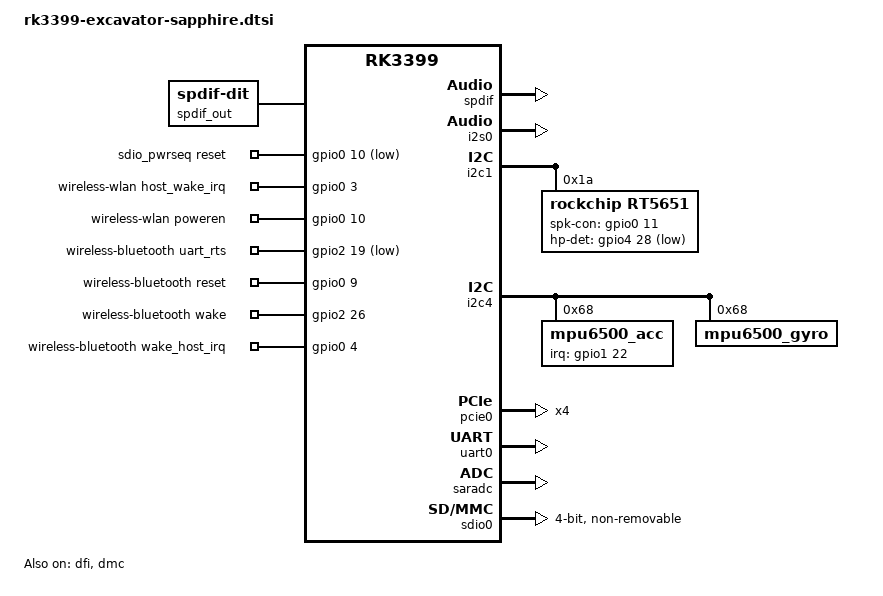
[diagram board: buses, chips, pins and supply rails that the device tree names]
// SPDX-License-Identifier: (GPL-2.0+ OR MIT)
/*
 * Copyright (c) 2022 Rockchip Electronics Co., Ltd.
 *
 */

#include "rk3399-sapphire.dtsi"
#include <dt-bindings/sensor-dev.h>
/ {
	compatible = "rockchip,rk3399-sapphire-excavator", "rockchip,rk3399";

	rt5651_sound: rt5651-sound {
		compatible = "simple-audio-card";
		simple-audio-card,format = "i2s";
		simple-audio-card,name = "realtek,rt5651-codec";
		simple-audio-card,mclk-fs = <256>;
		simple-audio-card,widgets =
			"Microphone", "Mic Jack",
			"Headphone", "Headphone Jack";
		simple-audio-card,routing =
			"Mic Jack", "MICBIAS1",
			"IN1P", "Mic Jack",
			"Headphone Jack", "HPOL",
			"Headphone Jack", "HPOR";
		simple-audio-card,cpu {
			sound-dai = <&i2s0>;
		};
		simple-audio-card,codec {
			sound-dai = <&rt5651>;
		};
	};

	spdif-sound {
		status = "okay";
		compatible = "simple-audio-card";
		simple-audio-card,name = "ROCKCHIP,SPDIF";
		simple-audio-card,cpu {
			sound-dai = <&spdif>;
		};
		simple-audio-card,codec {
			sound-dai = <&spdif_out>;
		};
	};

	spdif_out: spdif-out {
		status = "okay";
		compatible = "linux,spdif-dit";
		#sound-dai-cells = <0>;
	};

	sdio_pwrseq: sdio-pwrseq {
		compatible = "mmc-pwrseq-simple";
		clocks = <&rk808 1>;
		clock-names = "ext_clock";
		pinctrl-names = "default";
		pinctrl-0 = <&wifi_enable_h>;

		/*
		 * On the module itself this is one of these (depending
		 * on the actual card populated):
		 * - SDIO_RESET_L_WL_REG_ON
		 * - PDN (power down when low)
		 */
		reset-gpios = <&gpio0 10 GPIO_ACTIVE_LOW>; /* GPIO0_B2 */
	};

	wireless-wlan {
		compatible = "wlan-platdata";
		rockchip,grf = <&grf>;
		wifi_chip_type = "ap6354";
		sdio_vref = <1800>;
		WIFI,host_wake_irq = <&gpio0 3 GPIO_ACTIVE_HIGH>; /* GPIO0_a3 */
		WIFI,poweren_gpio = <&gpio0 10 GPIO_ACTIVE_HIGH>;
		status = "okay";
	};

	wireless-bluetooth {
		compatible = "bluetooth-platdata";
		clocks = <&rk808 1>;
		clock-names = "ext_clock";
		//wifi-bt-power-toggle;
		uart_rts_gpios = <&gpio2 19 GPIO_ACTIVE_LOW>; /* GPIO2_C3 */
		pinctrl-names = "default", "rts_gpio";
		pinctrl-0 = <&uart0_rts>, <&bt_reset_gpio>, <&bt_wake_gpio>, <&bt_irq_gpio>;
		pinctrl-1 = <&uart0_gpios>;
		//BT,power_gpio  = <&gpio3 19 GPIO_ACTIVE_HIGH>; /* GPIOx_xx */
		BT,reset_gpio    = <&gpio0 9 GPIO_ACTIVE_HIGH>; /* GPIO0_B1 */
		BT,wake_gpio     = <&gpio2 26 GPIO_ACTIVE_HIGH>; /* GPIO2_D2 */
		BT,wake_host_irq = <&gpio0 4 GPIO_ACTIVE_HIGH>; /* GPIO0_A4 */
		status = "okay";
	};
};

&dfi {
	status = "okay";
};

&dmc {
	status = "okay";
	center-supply = <&vdd_center>;
	upthreshold = <40>;
	downdifferential = <20>;
	system-status-freq = <
		/*system status         freq(KHz)*/
		SYS_STATUS_NORMAL       800000
		SYS_STATUS_REBOOT       528000
		SYS_STATUS_SUSPEND      200000
		SYS_STATUS_VIDEO_1080P  200000
		SYS_STATUS_VIDEO_4K     600000
		SYS_STATUS_VIDEO_4K_10B 800000
		SYS_STATUS_PERFORMANCE  800000
		SYS_STATUS_BOOST        600000
		SYS_STATUS_DUALVIEW     600000
		SYS_STATUS_ISP          600000
	>;
	vop-bw-dmc-freq = <
	/* min_bw(MB/s) max_bw(MB/s) freq(KHz) */
		0       762      200000
		763     1893     400000
		1894    3012     528000
		3013    99999    800000
	>;
	auto-freq-en = <1>;
	auto-min-freq = <200000>;
};

&spdif {
	status = "okay";
	pinctrl-0 = <&spdif_bus>;
	i2c-scl-rising-time-ns = <450>;
	i2c-scl-falling-time-ns = <15>;
	#sound-dai-cells = <0>;
};

&i2s0 {
	status = "okay";
	rockchip,playback-channels = <8>;
	rockchip,capture-channels = <8>;
	#sound-dai-cells = <0>;
};

&i2c1 {
	status = "okay";
	i2c-scl-rising-time-ns = <300>;
	i2c-scl-falling-time-ns = <15>;

	rt5651: rt5651@1a {
		#sound-dai-cells = <0>;
		compatible = "rockchip,rt5651";
		reg = <0x1a>;
		clocks = <&cru SCLK_I2S_8CH_OUT>;
		clock-names = "mclk";
		pinctrl-names = "default";
		pinctrl-0 = <&i2s_8ch_mclk>;
		spk-con-gpio = <&gpio0 11 GPIO_ACTIVE_HIGH>;
		hp-det-gpio = <&gpio4 28 GPIO_ACTIVE_LOW>;
	};
};

&i2c4 {
	status = "okay";
	i2c-scl-rising-time-ns = <600>;
	i2c-scl-falling-time-ns = <20>;

	mpu6500@68 {
		status = "disabled";
		compatible = "invensense,mpu6500";
		reg = <0x68>;
		irq-gpio = <&gpio1 22 IRQ_TYPE_EDGE_RISING>;
		mpu-int_config = <0x10>;
		mpu-level_shifter = <0>;
		mpu-orientation = <0 1 0 1 0 0 0 0 1>;
		orientation-x= <1>;
		orientation-y= <0>;
		orientation-z= <0>;
		mpu-debug = <1>;
	};

	mpu6500_acc: mpu_acc@68 {
		compatible = "mpu6500_acc";
		reg = <0x68>;
		irq-gpio = <&gpio1 22 IRQ_TYPE_EDGE_RISING>;
		irq_enable = <0>;
		poll_delay_ms = <30>;
		type = <SENSOR_TYPE_ACCEL>;
		layout = <2>;
	};

	mpu6500_gyro: mpu_gyro@68 {
		compatible = "mpu6500_gyro";
		reg = <0x68>;
		irq_enable = <0>;
		poll_delay_ms = <30>;
		type = <SENSOR_TYPE_GYROSCOPE>;
		layout = <2>;
	};
};

&pcie0 {
	ep-gpios = <&gpio2 4 GPIO_ACTIVE_HIGH>;
	num-lanes = <4>;
	pinctrl-names = "default";
	pinctrl-0 = <&pcie_clkreqn_cpm>;
};

&uart0 {
	pinctrl-names = "default";
	pinctrl-0 = <&uart0_xfer &uart0_cts>;
	status = "okay";
};

&saradc {
	status = "okay";
};

&sdio0 {
	max-frequency = <100000000>;
	no-sd;
	no-mmc;
	bus-width = <4>;
	disable-wp;
	cap-sd-highspeed;
	cap-sdio-irq;
	keep-power-in-suspend;
	mmc-pwrseq = <&sdio_pwrseq>;
	non-removable;
	num-slots = <1>;
	pinctrl-names = "default";
	pinctrl-0 = <&sdio0_bus4 &sdio0_cmd &sdio0_clk>;
	sd-uhs-sdr104;
	status = "okay";
};

&rockchip_suspend {
	status = "okay";
	rockchip,sleep-debug-en = <1>;
	rockchip,sleep-mode-config = <
		(0
		| RKPM_SLP_ARMPD
		| RKPM_SLP_PERILPPD
		| RKPM_SLP_DDR_RET
		| RKPM_SLP_PLLPD
		| RKPM_SLP_CENTER_PD
		| RKPM_SLP_AP_PWROFF
		)
		>;
	rockchip,wakeup-config = <
		(0
		| RKPM_GPIO_WKUP_EN
		| RKPM_PWM_WKUP_EN
		)
		>;
		rockchip,pwm-regulator-config = <
		(0
		| PWM2_REGULATOR_EN
		)
		>;
		rockchip,power-ctrl =
		<&gpio1 17 GPIO_ACTIVE_HIGH>,
		<&gpio1 14 GPIO_ACTIVE_HIGH>;
};

&pinctrl {
	sdio-pwrseq {
		wifi_enable_h: wifi-enable-h {
			rockchip,pins =
				<0 RK_PB2 RK_FUNC_GPIO &pcfg_pull_none>;
		};
	};

	wireless-bluetooth {
		uart0_gpios: uart0-gpios {
			rockchip,pins =
				<2 RK_PC3 RK_FUNC_GPIO &pcfg_pull_none>;
		};
		bt_reset_gpio: bt-reset-gpio {
			rockchip,pins =
				<0 RK_PB1 RK_FUNC_GPIO &pcfg_pull_none>;
		};
		bt_wake_gpio: bt-wake-gpio {
			rockchip,pins =
				<2 RK_PD2 RK_FUNC_GPIO &pcfg_pull_none>;
		};
		bt_irq_gpio: bt-irq-gpio {
			rockchip,pins =
				<0 RK_PA4 RK_FUNC_GPIO &pcfg_pull_down>;
		};
	};
};
